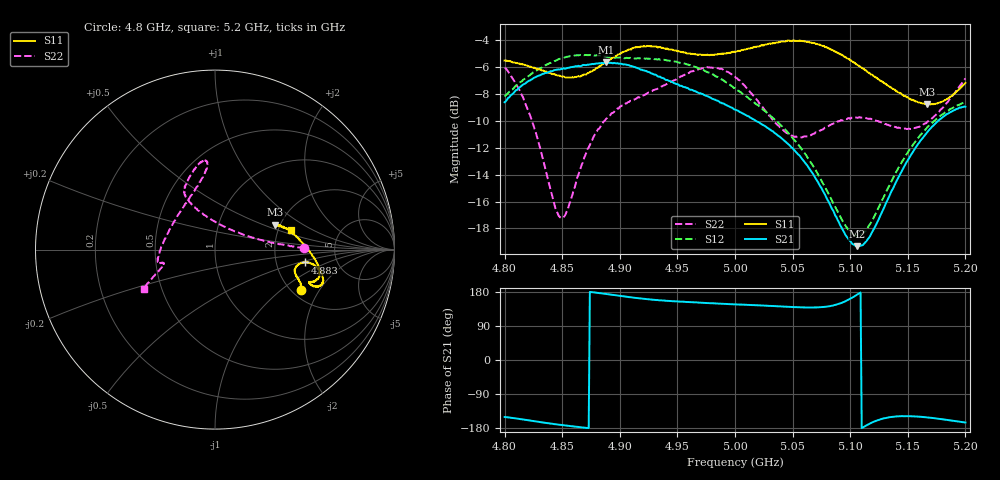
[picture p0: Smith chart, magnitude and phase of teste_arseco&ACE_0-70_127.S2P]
! Network Analyzer HP8722D
! Hewlett-Packard
! Data name: Linha & Wilkinson
! Saver's name: Rodrigo Anjos
! Comments: Teste da utilização de aquisição
! continua pelo VNA HP8722D
! Time and date: 8/5/2025 13:49
!  Frequency  S11  S21  S12  S22
# HZ  S  MA R 50
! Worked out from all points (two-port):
!   401 points, 4.8 GHz to 5.2 GHz, reference 50 ohm
!   highest |S21| = -5.65 dB at 4.888 GHz (marker M1); lowest = -19.3 dB at 5.106 GHz (marker M2)
!   |S21| within 3 dB of the highest: start of sweep to 4.988 GHz
!   lowest |S11| = -8.8 dB at 5.167 GHz (marker M3), VSWR 2.14, Z = 94.3 + j30.3 ohm
!   |S11| at or under -10 dB: nowhere
!   |S22| runs from -17.2 to -6.0 dB; largest |S21 - S12| = 1.1
!   S11 on the Smith chart (normalised r, x): 4.8 GHz: 2.23, -1.40; 4.883 GHz: 2.93, -0.56; 5.2 GHz: 2.35, +0.64
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4.8e9  0.5296 -25.3  0.3711 -150.4  0.3895 9.2  0.4975 1.0
4.821e9  0.5051 -20.7  0.4456 -159.2  0.4649 6.0  0.3408 6.0
4.847e9  0.4654 -16.3  0.4915 -170.5  0.5367 1.9  0.1401 53.8
4.854e9  0.4589 -14.6  0.4968 -173.3  0.5473 0.7  0.1462 82.1
4.867e9  0.4661 -11.2  0.507 -177.9  0.5544 -1.1  0.2176 110.0
4.883e9  0.5061 -8.2  0.5175 176.2  0.5518 -2.4  0.3 118.2
4.888e9  0.5225 -8.1  0.5218 174.4  0.5483 -2.4  0.3214 118.6
4.913e9  0.592 -11.5  0.5012 164.1  0.54 -1.7  0.3802 116.3
4.934e9  0.5953 -16.2  0.4614 157.4  0.5371 -2.7  0.4198 110.7
4.975e9  0.5564 -19.3  0.3919 150.4  0.4823 -6.2  0.4984 97.7
5e9  0.5718 -20.2  0.3483 146.7  0.4193 -6.2  0.4612 95.6
5.019e9  0.5965 -20.2  0.3147 144.3  0.3636 -3.6  0.3784 103.6
5.043e9  0.6227 -18.3  0.2668 140.9  0.2952 1.9  0.2894 130.4
5.067e9  0.6164 -13.8  0.203 138.6  0.2179 9.0  0.2817 164.9
5.095e9  0.5479 -4.3  0.1212 153.7  0.1308 34.2  0.3204 -172.3
5.106e9  0.5116 1.0  0.1082 172.4  0.1187 55.1  0.3248 -168.5
5.117e9  0.4745 6.7  0.1174 -167.8  0.1303 76.3  0.322 -166.7
5.134e9  0.4246 14.7  0.1662 -151.0  0.1816 94.5  0.3039 -165.9
5.152e9  0.3816 21.1  0.2334 -148.3  0.2484 100.4  0.2949 -164.7
5.167e9  0.364 22.5  0.2871 -151.6  0.2996 101.1  0.3141 -161.3
5.182e9  0.3776 20.5  0.3304 -157.1  0.3392 101.2  0.3614 -157.3
5.2e9  0.4379 14.6  0.357 -165.0  0.3706 101.5  0.4547 -151.0
